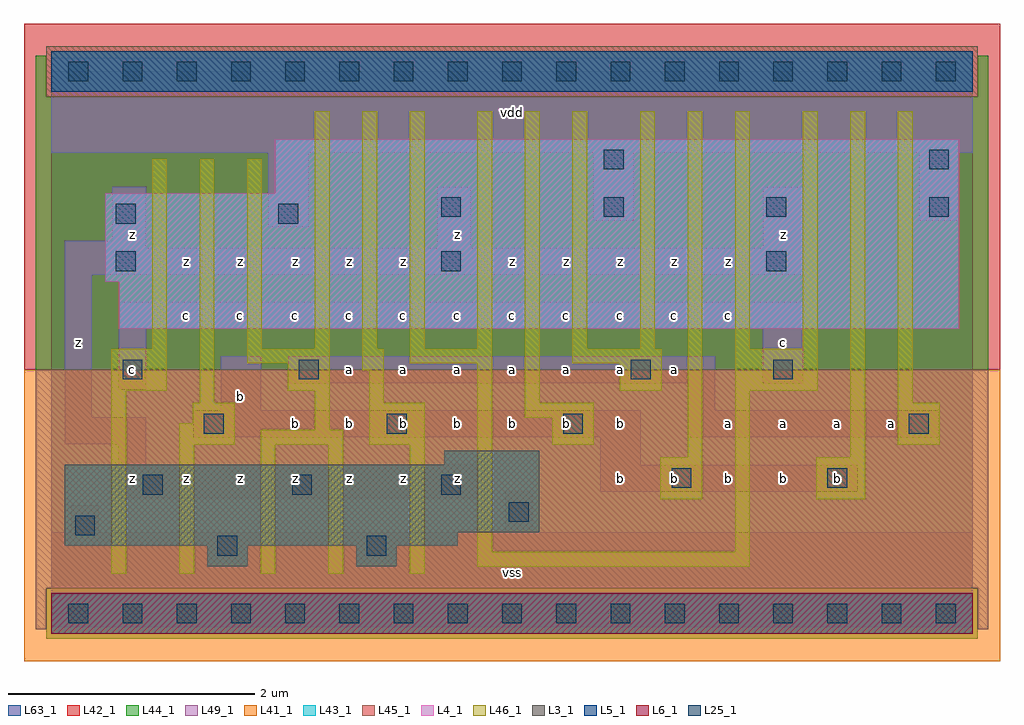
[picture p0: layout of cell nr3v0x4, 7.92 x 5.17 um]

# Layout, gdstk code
import gdstk
lib = gdstk.Library(unit=1e-6, precision=1e-09)
def R(c, l, rs):  # rectangles x0, y0, x1, y1
    for r in rs: c.add(gdstk.rectangle(r[:2], r[2:], *l))
def A(c, l, x, y, w, h, nx, ny, dx, dy):  # array of equal rectangles
    R(c, l, [(x+i*dx, y+j*dy, x+i*dx+w, y+j*dy+h) for i in range(nx) for j in range(ny)])
L3_1 = (3, 1)
L4_1 = (4, 1)
L5_1 = (5, 1)
L6_1 = (6, 1)
L25_1 = (25, 1)
L41_1 = (41, 1)
L42_1 = (42, 1)
L43_1 = (43, 1)
L44_1 = (44, 1)
L45_1 = (45, 1)
L46_1 = (46, 1)
L49_1 = (49, 1)
L63_1 = (63, 1)

nr3v0x4 = lib.new_cell('nr3v0x4')
R(nr3v0x4, L3_1, [(1.265,0.385,1.595,0.55), (2.475,0.385,2.805,0.55), (0.11,0.55,3.3,0.66), (0.11,0.66,3.96,1.21), (3.19,1.21,3.96,1.32)])
R(nr3v0x4, L4_1, [(0.55,2.31,7.37,2.695), (0.44,2.695,7.37,3.41), (1.815,3.41,7.37,3.85)])
R(nr3v0x4, L5_1, [(0,4.235,7.48,4.565)])
R(nr3v0x4, L6_1, [(0,-0.165,7.48,0.165)])
A(nr3v0x4, L25_1, 0.14, -0.08, 0.16, 0.16, 17, 2, 0.44, 4.4)
A(nr3v0x4, L25_1, 0.745, 0.965, 0.16, 0.16, 3, 1, 1.21, 0)
A(nr3v0x4, L25_1, 0.525, 2.78, 0.16, 0.16, 3, 1, 2.64, 0)
A(nr3v0x4, L25_1, 3.165, 3.22, 0.16, 0.16, 4, 1, 1.32, 0)
R(nr3v0x4, L25_1, [(1.35,0.47,1.51,0.63), (2.56,0.47,2.72,0.63), (0.195,0.635,0.355,0.795), (3.715,0.745,3.875,0.905), (5.035,1.02,5.195,1.18), (6.3,1.02,6.46,1.18), (1.24,1.46,1.4,1.62), (2.725,1.46,2.885,1.62), (4.155,1.46,4.315,1.62), (6.96,1.46,7.12,1.62), (0.58,1.9,0.74,2.06), (2.01,1.9,2.17,2.06), (4.705,1.9,4.865,2.06), (5.86,1.9,6.02,2.06), (0.525,3.165,0.685,3.325), (1.845,3.165,2.005,3.325), (4.485,3.605,4.645,3.765), (7.125,3.605,7.285,3.765)])
R(nr3v0x4, L41_1, [(-0.22,-0.385,7.7,1.98)])
R(nr3v0x4, L42_1, [(-0.22,1.98,7.7,4.785)])
R(nr3v0x4, L43_1, [(0,-0.165,7.48,0.165), (1.265,0.385,1.595,0.55), (2.475,0.385,2.805,0.55), (0.11,0.55,3.3,0.66), (0.11,0.66,3.96,1.21), (3.19,1.21,3.96,1.32), (0.55,2.31,7.37,2.695), (0.44,2.695,7.37,3.41), (1.815,3.41,7.37,3.85), (0,4.235,7.48,4.565)])
R(nr3v0x4, L44_1, [(-0.04,-0.205,7.52,0.205), (-0.125,1.98,7.605,4.195), (-0.125,4.195,-0.04,4.525), (7.52,4.195,7.605,4.525)])
R(nr3v0x4, L45_1, [(-0.125,-0.125,-0.04,0.205), (7.52,-0.125,7.605,0.205), (-0.125,0.205,7.605,1.98), (-0.04,4.195,7.52,4.605)])
A(nr3v0x4, L46_1, 2.14, 2.15, 0.12, 1.925, 3, 1, 0.385, 0)
R(nr3v0x4, L46_1, [(0.49,0.325,0.61,1.81), (1.04,0.325,1.16,1.37), (1.7,0.325,1.82,1.37), (2.25,0.325,2.37,1.37), (2.91,0.325,3.03,1.37), (3.46,0.38,5.67,0.5), (3.46,0.5,3.58,2.03), (5.55,0.5,5.67,1.81), (4.945,0.93,5.285,1.27), (6.21,0.93,6.605,1.27), (5.165,1.27,5.285,4.075), (6.485,1.27,6.605,4.075), (1.04,1.37,1.49,1.545), (1.7,1.37,2.37,1.49), (2.58,1.37,3.03,1.71), (4.065,1.37,4.405,1.59), (6.87,1.37,7.21,1.71), (2.14,1.49,2.26,1.81), (1.15,1.545,1.49,1.71), (3.845,1.59,4.405,1.71), (1.205,1.71,1.325,3.69), (2.58,1.71,2.7,1.975), (3.845,1.71,3.965,4.075), (6.87,1.71,6.99,4.075), (0.49,1.81,0.94,2.15), (1.92,1.81,2.26,2.03), (4.615,1.81,4.955,2.03), (5.55,1.81,6.22,2.15), (2.525,1.975,2.7,2.15), (1.59,2.03,2.26,2.15), (2.91,2.03,3.58,2.15), (4.23,2.03,4.955,2.15), (0.82,2.15,0.94,3.69), (1.59,2.15,1.71,3.69), (3.46,2.15,3.58,4.075), (4.23,2.15,4.35,4.075), (4.78,2.15,4.9,4.075), (5.55,2.15,5.67,4.075), (6.1,2.15,6.22,4.075)])
R(nr3v0x4, L49_1, [(0,-0.11,7.48,0.66), (0.165,0.66,0.385,0.88), (3.685,0.66,3.905,0.99), (0.55,0.935,3.465,1.21), (4.455,0.99,6.545,1.21), (0.55,1.21,0.77,1.375), (4.455,1.21,4.785,1.43), (0.11,1.375,0.77,1.595), (1.155,1.43,4.785,1.65), (5.17,1.43,7.205,1.65), (0.11,1.595,0.33,2.75), (1.375,1.65,1.705,2.09), (5.17,1.65,5.39,1.87), (0.55,1.815,0.77,2.31), (1.925,1.87,5.39,2.09), (5.775,1.87,6.105,2.31), (0.55,2.31,6.105,2.53), (0.11,2.75,6.105,2.97), (0.11,2.97,0.77,3.025), (3.135,2.97,3.41,3.465), (5.775,2.97,6.105,3.465), (0.495,3.025,0.77,3.465), (1.76,3.135,2.09,3.74), (4.4,3.19,4.73,3.74), (7.04,3.19,7.37,3.74), (0,3.74,7.48,4.51)])
R(nr3v0x4, L63_1, [(0,0,7.48,4.4)])
nr3v0x4.add(gdstk.Label('z', (0.66,1.1), layer=49, texttype=1))
nr3v0x4.add(gdstk.Label('c', (0.66,1.98), layer=49, texttype=1))
nr3v0x4.add(gdstk.Label('z', (0.22,2.2), layer=49, texttype=1))
nr3v0x4.add(gdstk.Label('z', (0.66,3.08), layer=49, texttype=1))
nr3v0x4.add(gdstk.Label('z', (1.1,1.1), layer=49, texttype=1))
nr3v0x4.add(gdstk.Label('z', (1.54,1.1), layer=49, texttype=1))
nr3v0x4.add(gdstk.Label('z', (1.98,1.1), layer=49, texttype=1))
nr3v0x4.add(gdstk.Label('b', (1.98,1.54), layer=49, texttype=1))
nr3v0x4.add(gdstk.Label('b', (1.54,1.76), layer=49, texttype=1))
nr3v0x4.add(gdstk.Label('c', (1.54,2.42), layer=49, texttype=1))
nr3v0x4.add(gdstk.Label('c', (1.98,2.42), layer=49, texttype=1))
nr3v0x4.add(gdstk.Label('c', (1.1,2.42), layer=49, texttype=1))
nr3v0x4.add(gdstk.Label('z', (1.1,2.86), layer=49, texttype=1))
nr3v0x4.add(gdstk.Label('z', (1.54,2.86), layer=49, texttype=1))
nr3v0x4.add(gdstk.Label('z', (1.98,2.86), layer=49, texttype=1))
nr3v0x4.add(gdstk.Label('z', (2.42,1.1), layer=49, texttype=1))
nr3v0x4.add(gdstk.Label('z', (2.86,1.1), layer=49, texttype=1))
nr3v0x4.add(gdstk.Label('z', (3.3,1.1), layer=49, texttype=1))
nr3v0x4.add(gdstk.Label('b', (2.86,1.54), layer=49, texttype=1))
nr3v0x4.add(gdstk.Label('b', (3.3,1.54), layer=49, texttype=1))
nr3v0x4.add(gdstk.Label('b', (2.42,1.54), layer=49, texttype=1))
nr3v0x4.add(gdstk.Label('a', (2.42,1.98), layer=49, texttype=1))
nr3v0x4.add(gdstk.Label('a', (2.86,1.98), layer=49, texttype=1))
nr3v0x4.add(gdstk.Label('a', (3.3,1.98), layer=49, texttype=1))
nr3v0x4.add(gdstk.Label('c', (2.86,2.42), layer=49, texttype=1))
nr3v0x4.add(gdstk.Label('c', (3.3,2.42), layer=49, texttype=1))
nr3v0x4.add(gdstk.Label('c', (2.42,2.42), layer=49, texttype=1))
nr3v0x4.add(gdstk.Label('z', (2.42,2.86), layer=49, texttype=1))
nr3v0x4.add(gdstk.Label('z', (2.86,2.86), layer=49, texttype=1))
nr3v0x4.add(gdstk.Label('z', (3.3,3.08), layer=49, texttype=1))
nr3v0x4.add(gdstk.Label('vss', (3.74,0.33), layer=49, texttype=1))
nr3v0x4.add(gdstk.Label('b', (4.62,1.1), layer=49, texttype=1))
nr3v0x4.add(gdstk.Label('b', (4.18,1.54), layer=49, texttype=1))
nr3v0x4.add(gdstk.Label('b', (4.62,1.54), layer=49, texttype=1))
nr3v0x4.add(gdstk.Label('b', (3.74,1.54), layer=49, texttype=1))
nr3v0x4.add(gdstk.Label('a', (3.74,1.98), layer=49, texttype=1))
nr3v0x4.add(gdstk.Label('a', (4.18,1.98), layer=49, texttype=1))
nr3v0x4.add(gdstk.Label('a', (4.62,1.98), layer=49, texttype=1))
nr3v0x4.add(gdstk.Label('c', (4.18,2.42), layer=49, texttype=1))
nr3v0x4.add(gdstk.Label('c', (4.62,2.42), layer=49, texttype=1))
nr3v0x4.add(gdstk.Label('c', (3.74,2.42), layer=49, texttype=1))
nr3v0x4.add(gdstk.Label('z', (3.74,2.86), layer=49, texttype=1))
nr3v0x4.add(gdstk.Label('z', (4.18,2.86), layer=49, texttype=1))
nr3v0x4.add(gdstk.Label('z', (4.62,2.86), layer=49, texttype=1))
nr3v0x4.add(gdstk.Label('vdd', (3.74,4.07), layer=49, texttype=1))
nr3v0x4.add(gdstk.Label('b', (5.06,1.1), layer=49, texttype=1))
nr3v0x4.add(gdstk.Label('b', (5.5,1.1), layer=49, texttype=1))
nr3v0x4.add(gdstk.Label('b', (5.94,1.1), layer=49, texttype=1))
nr3v0x4.add(gdstk.Label('a', (5.5,1.54), layer=49, texttype=1))
nr3v0x4.add(gdstk.Label('a', (5.94,1.54), layer=49, texttype=1))
nr3v0x4.add(gdstk.Label('a', (5.06,1.98), layer=49, texttype=1))
nr3v0x4.add(gdstk.Label('c', (5.5,2.42), layer=49, texttype=1))
nr3v0x4.add(gdstk.Label('c', (5.94,2.2), layer=49, texttype=1))
nr3v0x4.add(gdstk.Label('c', (5.06,2.42), layer=49, texttype=1))
nr3v0x4.add(gdstk.Label('z', (5.06,2.86), layer=49, texttype=1))
nr3v0x4.add(gdstk.Label('z', (5.5,2.86), layer=49, texttype=1))
nr3v0x4.add(gdstk.Label('z', (5.94,3.08), layer=49, texttype=1))
nr3v0x4.add(gdstk.Label('b', (6.38,1.1), layer=49, texttype=1))
nr3v0x4.add(gdstk.Label('a', (6.82,1.54), layer=49, texttype=1))
nr3v0x4.add(gdstk.Label('a', (6.38,1.54), layer=49, texttype=1))

lib.write_gds('nr3v0x4.gds')
